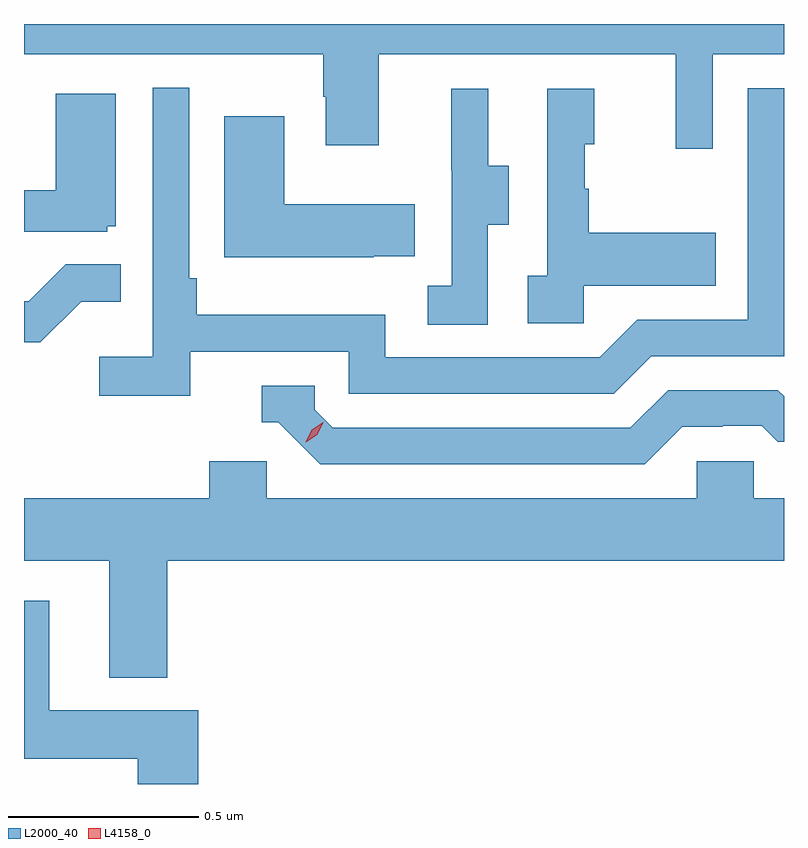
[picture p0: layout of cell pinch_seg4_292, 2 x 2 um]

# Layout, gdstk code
import gdstk
lib = gdstk.Library(unit=1e-6, precision=1e-09)
def P(c, l, *ps):  # polygons
    for p in ps: c.add(gdstk.Polygon(p, *l))
L2000_40 = (2000, 40)
L4158_0 = (4158, 0)

pinch_seg4_292 = lib.new_cell('pinch_seg4_292')
P(pinch_seg4_292, L2000_40, [(903.225,811.472),(903.413,811.472),(903.413,811.552),(901.413,811.552),(901.413,811.472),(902.2,811.472),(902.2,811.361),(902.207,811.361),(902.207,811.233),(902.347,811.233),(902.347,811.472),(903.128,811.472),(903.128,811.224),(903.225,811.224)],
  [(901.85,810.69),(902.268,810.69),(902.268,810.579),(902.965,810.579),(903.064,810.678),(903.413,810.678),(903.413,811.383),(903.318,811.383),(903.318,810.774),(903.027,810.774),(902.928,810.675),(902.364,810.675),(902.364,810.787),(901.868,810.787),(901.868,810.883),(901.848,810.883),(901.848,811.384),(901.752,811.384),(901.752,810.676),(901.611,810.676),(901.611,810.574),(901.85,810.574)],
  [(902.886,810.863),(903.233,810.863),(903.233,811.003),(902.899,811.003),(902.899,811.118),(902.889,811.118),(902.889,811.236),(902.914,811.236),(902.914,811.381),(902.79,811.381),(902.79,810.89),(902.739,810.89),(902.739,810.765),(902.886,810.765)],
  [(902.634,811.024),(902.689,811.024),(902.689,811.179),(902.635,811.179),(902.635,811.381),(902.537,811.381),(902.537,811.167),(902.538,811.167),(902.538,810.863),(902.475,810.863),(902.475,810.76),(902.634,810.76)],
  [(901.632,811.02),(901.654,811.02),(901.654,811.369),(901.496,811.369),(901.496,811.114),(901.413,811.114),(901.413,811.005),(901.632,811.005)],
  [(902.333,810.941),(902.441,810.941),(902.441,811.078),(902.098,811.078),(902.098,811.309),(901.94,811.309),(901.94,810.938),(902.333,810.938)],
  [(901.563,810.821),(901.667,810.821),(901.667,810.92),(901.523,810.92),(901.425,810.822),(901.413,810.822),(901.413,810.714),(901.456,810.714)],
  [(903.145,810.492),(903.252,810.492),(903.252,810.495),(903.355,810.495),(903.397,810.453),(903.413,810.453),(903.413,810.572),(903.397,810.588),(903.108,810.588),(903.009,810.489),(902.226,810.489),(902.178,810.537),(902.178,810.6),(902.039,810.6),(902.039,810.504),(902.082,810.504),(902.193,810.393),(903.046,810.393)],
  [(901.79,810.14),(903.413,810.14),(903.413,810.304),(903.333,810.304),(903.333,810.402),(903.183,810.402),(903.183,810.304),(902.052,810.304),(902.052,810.402),(901.901,810.402),(901.901,810.304),(901.413,810.304),(901.413,810.14),(901.637,810.14),(901.637,809.831),(901.79,809.831)],
  [(901.871,809.746),(901.48,809.746),(901.48,810.034),(901.413,810.034),(901.413,809.618),(901.712,809.618),(901.712,809.552),(901.871,809.552)])
P(pinch_seg4_292, L4158_0, [(902.155,810.451),(902.155,810.451),(902.17,810.484),(902.2,810.504),(902.201,810.504),(902.201,810.504),(902.185,810.471),(902.155,810.451)])

lib.write_gds('pinch_seg4_292.gds')
